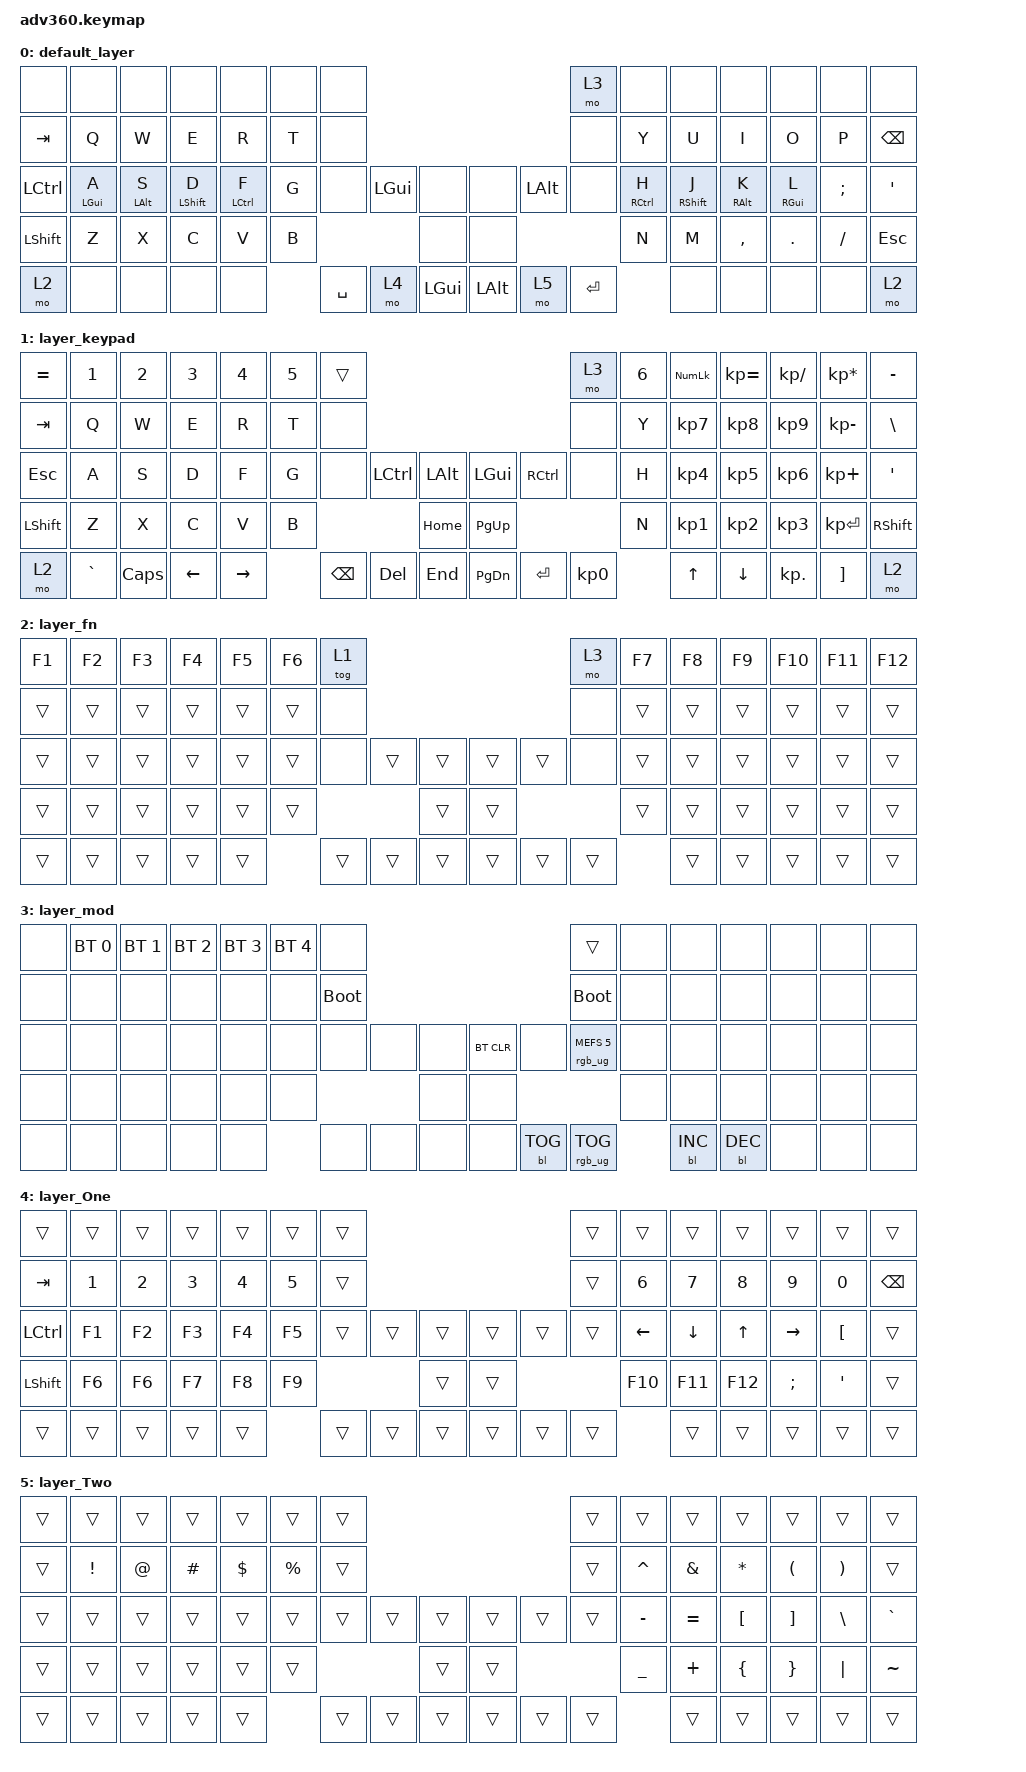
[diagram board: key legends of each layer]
/*
 * Copyright (c) 2020 The ZMK Contributors
 *
 * SPDX-License-Identifier: MIT
 */
/* THIS FILE WAS GENERATED!
 *
 * This file was generated automatically. You may or may not want to
 * edit it directly.
 */

#include <behaviors.dtsi>
#include <dt-bindings/zmk/backlight.h>
#include <dt-bindings/zmk/bt.h>
#include <dt-bindings/zmk/keys.h>
#include <dt-bindings/zmk/rgb.h>

/ {
    behaviors {
        #include "macros.dtsi"

        hm: homerow_mods {
            compatible = "zmk,behavior-hold-tap";
            label = "HOMEROW_MODS";
            #binding-cells = <2>;
            tapping-term-ms = <200>;
            quick_tap_ms = <175>;
            flavor = "tap-preferred";
            bindings =
                <&kp>,
                <&kp>;
        };
    };

    keymap {
        compatible = "zmk,keymap";

        default_layer {
            bindings = <
&none             &none       &none       &none         &none        &none  &none                                                                  &mo 3      &none        &none        &none       &none       &none     &none
&kp TAB           &kp Q       &kp W       &kp E         &kp R        &kp T  &none                                                                  &none      &kp Y        &kp U        &kp I       &kp O       &kp P     &kp BACKSPACE
&kp LEFT_CONTROL  &hm LGUI A  &hm LALT S  &hm LSHIFT D  &hm LCTRL F  &kp G  &none      &kp LEFT_GUI  &none             &none         &kp LEFT_ALT  &none      &hm RCTRL H  &hm RSHFT J  &hm RALT K  &hm RGUI L  &kp SEMI  &kp SINGLE_QUOTE
&kp LSHFT         &kp Z       &kp X       &kp C         &kp V        &kp B                           &none             &none                                  &kp N        &kp M        &kp COMMA   &kp DOT     &kp FSLH  &kp ESCAPE
&mo 2             &none       &none       &none         &none               &kp SPACE  &mo 4         &kp LEFT_GUI      &kp LEFT_ALT  &mo 5         &kp ENTER               &none        &none       &none       &none     &mo 2
            >;
        };

        layer_keypad {
            bindings = <
&kp EQUAL  &kp N1     &kp N2    &kp N3    &kp N4     &kp N5  &trans                                                   &mo 3      &kp N6  &kp KP_NUM  &kp KP_EQUAL  &kp KP_DIVIDE  &kp KP_MULTIPLY  &kp MINUS
&kp TAB    &kp Q      &kp W     &kp E     &kp R      &kp T   &none                                                    &none      &kp Y   &kp KP_N7   &kp KP_N8     &kp KP_N9      &kp KP_MINUS     &kp BSLH
&kp ESC    &kp A      &kp S     &kp D     &kp F      &kp G   &none     &kp LCTRL  &kp LALT      &kp LGUI   &kp RCTRL  &none      &kp H   &kp KP_N4   &kp KP_N5     &kp KP_N6      &kp KP_PLUS      &kp SQT
&kp LSHFT  &kp Z      &kp X     &kp C     &kp V      &kp B                        &kp HOME      &kp PG_UP                        &kp N   &kp KP_N1   &kp KP_N2     &kp KP_N3      &kp KP_ENTER     &kp RSHFT
&mo 2      &kp GRAVE  &kp CAPS  &kp LEFT  &kp RIGHT          &kp BSPC  &kp DEL    &kp END       &kp PG_DN  &kp ENTER  &kp KP_N0          &kp UP      &kp DOWN      &kp KP_DOT     &kp RBKT         &mo 2
            >;
        };

        layer_fn {
            bindings = <
&kp F1  &kp F2  &kp F3  &kp F4  &kp F5  &kp F6  &tog 1                                      &mo 3   &kp F7  &kp F8  &kp F9  &kp F10  &kp F11  &kp F12
&trans  &trans  &trans  &trans  &trans  &trans  &none                                       &none   &trans  &trans  &trans  &trans   &trans   &trans
&trans  &trans  &trans  &trans  &trans  &trans  &none   &trans  &trans      &trans  &trans  &none   &trans  &trans  &trans  &trans   &trans   &trans
&trans  &trans  &trans  &trans  &trans  &trans                  &trans      &trans                  &trans  &trans  &trans  &trans   &trans   &trans
&trans  &trans  &trans  &trans  &trans          &trans  &trans  &trans      &trans  &trans  &trans          &trans  &trans  &trans   &trans   &trans
            >;
        };

        layer_mod {
            bindings = <
&none  &bt BT_SEL 0  &bt BT_SEL 1  &bt BT_SEL 2  &bt BT_SEL 3  &bt BT_SEL 4  &none                                                  &trans                  &none  &none       &none       &none  &none  &none
&none  &none         &none         &none         &none         &none         &bootloader                                            &bootloader             &none  &none       &none       &none  &none  &none
&none  &none         &none         &none         &none         &none         &none        &none  &none      &bt BT_CLR  &none       &rgb_ug RGB_MEFS_CMD 5  &none  &none       &none       &none  &none  &none
&none  &none         &none         &none         &none         &none                             &none      &none                                           &none  &none       &none       &none  &none  &none
&none  &none         &none         &none         &none                       &none        &none  &none      &none       &bl BL_TOG  &rgb_ug RGB_TOG                &bl BL_INC  &bl BL_DEC  &none  &none  &none
            >;
        };

        layer_One {
            bindings = <
&trans            &trans  &trans  &trans  &trans  &trans  &trans                                      &trans  &trans          &trans          &trans        &trans           &trans            &trans
&kp TAB           &kp N1  &kp N2  &kp N3  &kp N4  &kp N5  &trans                                      &trans  &kp N6          &kp N7          &kp N8        &kp N9           &kp N0            &kp BACKSPACE
&kp LEFT_CONTROL  &kp F1  &kp F2  &kp F3  &kp F4  &kp F5  &trans  &trans  &trans      &trans  &trans  &trans  &kp LEFT_ARROW  &kp DOWN_ARROW  &kp UP_ARROW  &kp RIGHT_ARROW  &kp LEFT_BRACKET  &trans
&kp LEFT_SHIFT    &kp F6  &kp F6  &kp F7  &kp F8  &kp F9                  &trans      &trans                  &kp F10         &kp F11         &kp F12       &kp SEMICOLON    &kp SINGLE_QUOTE  &trans
&trans            &trans  &trans  &trans  &trans          &trans  &trans  &trans      &trans  &trans  &trans                  &trans          &trans        &trans           &trans            &trans
            >;
        };

        layer_Two {
            bindings = <
&trans  &trans           &trans       &trans    &trans      &trans       &trans                                      &trans  &trans          &trans         &trans            &trans                &trans                 &trans
&trans  &kp EXCLAMATION  &kp AT_SIGN  &kp HASH  &kp DOLLAR  &kp PERCENT  &trans                                      &trans  &kp CARET       &kp AMPERSAND  &kp ASTERISK      &kp LEFT_PARENTHESIS  &kp RIGHT_PARENTHESIS  &trans
&trans  &trans           &trans       &trans    &trans      &trans       &trans  &trans  &trans      &trans  &trans  &trans  &kp MINUS       &kp EQUAL      &kp LEFT_BRACKET  &kp RIGHT_BRACKET     &kp BACKSLASH          &kp GRAVE
&trans  &trans           &trans       &trans    &trans      &trans                       &trans      &trans                  &kp UNDERSCORE  &kp PLUS       &kp LEFT_BRACE    &kp RIGHT_BRACE       &kp PIPE               &kp TILDE
&trans  &trans           &trans       &trans    &trans                   &trans  &trans  &trans      &trans  &trans  &trans                  &trans         &trans            &trans                &trans                 &trans
            >;
        };
    };
};
